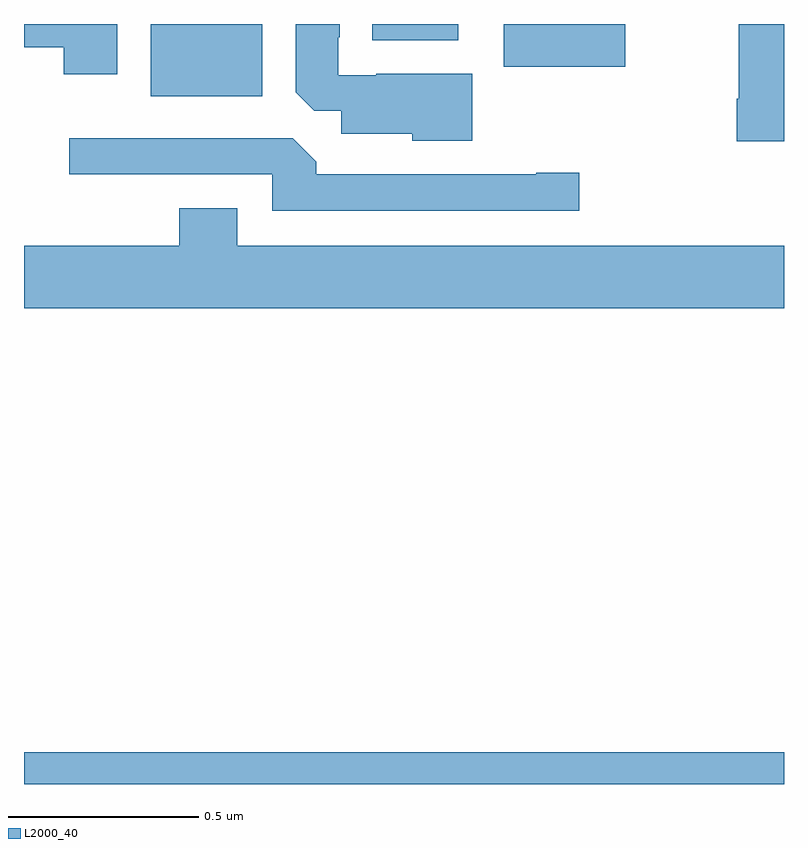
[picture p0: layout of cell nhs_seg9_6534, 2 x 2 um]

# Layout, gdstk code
import gdstk
lib = gdstk.Library(unit=1e-6, precision=1e-09)
def R(c, l, rs):  # rectangles x0, y0, x1, y1
    for r in rs: c.add(gdstk.rectangle(r[:2], r[2:], *l))
def P(c, l, *ps):  # polygons
    for p in ps: c.add(gdstk.Polygon(p, *l))
L2000_40 = (2000, 40)

nhs_seg9_6534 = lib.new_cell('nhs_seg9_6534')
R(nhs_seg9_6534, L2000_40, [(193,1196.5,195,1196.584), (193.334,1198.31,193.627,1198.5), (194.262,1198.388,194.582,1198.5), (193.916,1198.457,194.143,1198.5)])
P(nhs_seg9_6534, L2000_40, [(195,1198.5),(194.881,1198.5),(194.881,1198.303),(194.876,1198.303),(194.876,1198.191),(195,1198.191)],
  [(193.246,1198.5),(193,1198.5),(193,1198.439),(193.105,1198.439),(193.105,1198.368),(193.246,1198.368)],
  [(194.179,1198.369),(193.927,1198.369),(193.927,1198.365),(193.827,1198.365),(193.827,1198.465),(193.831,1198.465),(193.831,1198.5),(193.715,1198.5),(193.715,1198.321),(193.764,1198.272),(193.835,1198.272),(193.835,1198.211),(194.022,1198.211),(194.022,1198.193),(194.179,1198.193)],
  [(194.461,1198.109),(194.348,1198.109),(194.348,1198.104),(193.769,1198.104),(193.769,1198.138),(193.707,1198.2),(193.119,1198.2),(193.119,1198.104),(193.653,1198.104),(193.653,1198.008),(194.461,1198.008)],
  [(195,1197.916),(193.561,1197.916),(193.561,1198.015),(193.409,1198.015),(193.409,1197.916),(193,1197.916),(193,1197.752),(195,1197.752)])

lib.write_gds('nhs_seg9_6534.gds')
